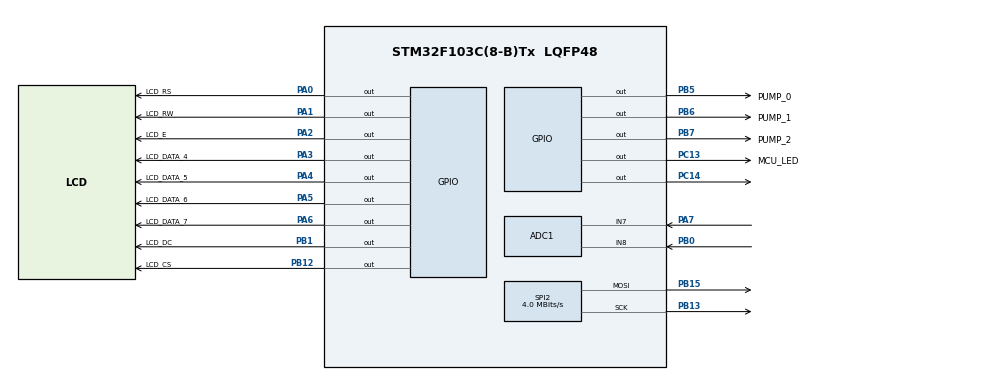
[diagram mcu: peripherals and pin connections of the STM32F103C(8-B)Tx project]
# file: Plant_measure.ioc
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ADC1.Channel-0\#ChannelRegularConversion=ADC_CHANNEL_7
ADC1.Channel-2\#ChannelRegularConversion=ADC_CHANNEL_8
ADC1.ContinuousConvMode=DISABLE
ADC1.DiscontinuousConvMode=DISABLE
ADC1.NbrOfConversion=2
ADC1.NbrOfConversionFlag=1
ADC1.Rank-0\#ChannelRegularConversion=1
ADC1.Rank-2\#ChannelRegularConversion=2
ADC1.SamplingTime-0\#ChannelRegularConversion=ADC_SAMPLETIME_55CYCLES_5
ADC1.SamplingTime-2\#ChannelRegularConversion=ADC_SAMPLETIME_55CYCLES_5
ADC1.master=1
Dma.ADC1.0.Direction=DMA_PERIPH_TO_MEMORY
Dma.ADC1.0.Instance=DMA1_Channel1
Dma.ADC1.0.MemDataAlignment=DMA_MDATAALIGN_HALFWORD
Dma.ADC1.0.MemInc=DMA_MINC_ENABLE
Dma.ADC1.0.Mode=DMA_NORMAL
Dma.ADC1.0.PeriphDataAlignment=DMA_PDATAALIGN_HALFWORD
Dma.ADC1.0.PeriphInc=DMA_PINC_DISABLE
Dma.ADC1.0.Priority=DMA_PRIORITY_LOW
Dma.Request0=ADC1
Mcu.Family=STM32F1
Mcu.Name=STM32F103C(8-B)Tx
Mcu.Package=LQFP48
NVIC.ADC1_2_IRQn=true\:5\:0\:true\:false\:true\:true\:true\:true
NVIC.DMA1_Channel1_IRQn=true\:5\:0\:true\:false\:true\:false\:true\:true
NVIC.PriorityGroup=NVIC_PRIORITYGROUP_4
NVIC.TIM4_IRQn=true\:15\:0\:false\:false\:true\:false\:true\:true
NVIC.TimeBase=TIM4_IRQn
NVIC.TimeBaseIP=TIM4
PA0-WKUP.GPIO_Label=LCD_RS
PA0-WKUP.GPIO_PuPd=GPIO_PULLDOWN
PA0-WKUP.Signal=GPIO_Output
PA1.GPIO_Label=LCD_RW
PA1.GPIO_PuPd=GPIO_PULLDOWN
PA1.Signal=GPIO_Output
PA2.GPIO_Label=LCD_E
PA2.GPIO_PuPd=GPIO_PULLDOWN
PA2.Signal=GPIO_Output
PA3.GPIO_Label=LCD_DATA_4
PA3.GPIO_PuPd=GPIO_PULLDOWN
PA3.Signal=GPIO_Output
PA4.GPIO_Label=LCD_DATA_5
PA4.GPIO_PuPd=GPIO_PULLDOWN
PA4.Signal=GPIO_Output
PA5.GPIO_Label=LCD_DATA_6
PA5.GPIO_PuPd=GPIO_PULLDOWN
PA5.Signal=GPIO_Output
PA6.GPIO_Label=LCD_DATA_7
PA6.GPIO_PuPd=GPIO_PULLDOWN
PA6.Signal=GPIO_Output
PA7.Signal=ADCx_IN7
PB0.Signal=ADCx_IN8
PB1.GPIO_Label=LCD_DC
PB1.Signal=GPIO_Output
PB12.GPIO_Label=LCD_CS
PB12.Signal=GPIO_Output
PB13.Mode=TX_Only_Simplex_Unidirect_Master
PB13.Signal=SPI2_SCK
PB15.Mode=TX_Only_Simplex_Unidirect_Master
PB15.Signal=SPI2_MOSI
PB5.GPIO_Label=PUMP_0
PB5.PinState=GPIO_PIN_SET
PB5.Signal=GPIO_Output
PB6.GPIO_Label=PUMP_1
PB6.PinState=GPIO_PIN_SET
PB6.Signal=GPIO_Output
PB7.GPIO_Label=PUMP_2
PB7.PinState=GPIO_PIN_SET
PB7.Signal=GPIO_Output
PC13-TAMPER-RTC.GPIO_Label=MCU_LED
PC13-TAMPER-RTC.Signal=GPIO_Output
PC14-OSC32_IN.Signal=GPIO_Output
PD0-OSC_IN.Mode=HSE-External-Oscillator
PD0-OSC_IN.Signal=RCC_OSC_IN
PD1-OSC_OUT.Mode=HSE-External-Oscillator
PD1-OSC_OUT.Signal=RCC_OSC_OUT
ProjectManager.HeapSize=0x200
ProjectManager.StackSize=0x400
ProjectManager.TargetToolchain=STM32CubeIDE
RCC.APB1Freq_Value=8000000
RCC.APB2Freq_Value=8000000
SH.ADCx_IN7.0=ADC1_IN7,IN7
SH.ADCx_IN8.0=ADC1_IN8,IN8
SPI2.CalculateBaudRate=4.0 MBits/s
SPI2.Direction=SPI_DIRECTION_2LINES
SPI2.Mode=SPI_MODE_MASTER
SPI2.VirtualType=VM_MASTER
VP_SYS_VS_ND.Mode=No_Debug
VP_SYS_VS_tim4.Mode=TIM4
board=custom

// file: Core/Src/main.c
/* USER CODE BEGIN Header */
/**
  ******************************************************************************
  * @file           : main.c
  * @brief          : Main program body
  ******************************************************************************
  * @attention
  *
  * Copyright (c) 2024 STMicroelectronics.
  * All rights reserved.
  *
  * This software is licensed under terms that can be found in the LICENSE file
  * in the root directory of this software component.
  * If no LICENSE file comes with this software, it is provided AS-IS.
  *
  ******************************************************************************
  */
/* USER CODE END Header */
#include "main.h"

ADC_HandleTypeDef hadc1;
DMA_HandleTypeDef hdma_adc1;

SPI_HandleTypeDef hspi2;

/* USER CODE BEGIN PV */
//TASKS HANDLERS
TaskHandle_t GROUND_MEASURE_INIT_hndl;
TaskHandle_t GROUND_MEASURE_CALCULATE_hndl;
TaskHandle_t LCD_PRINT_hndl;
TaskHandle_t WATERING_hndl;

//TIMERS
xTimerHandle PUMP_TIMER[NUMBER_OF_SENSORS];

//SEMAPHORES
SemaphoreHandle_t PUMP_SEMAPHORE[NUMBER_OF_SENSORS];

//USED VARIABLES
uint16_t volatile ADC_VALUE[NUMBER_OF_SENSORS];

/* USER CODE END PV */

void SystemClock_Config(void);
static void MX_GPIO_Init(void);
static void MX_DMA_Init(void);
static void MX_ADC1_Init(void);
static void MX_SPI2_Init(void);
/* USER CODE BEGIN PFP */
void GROUND_MEASURE_INIT_task(void* vParameters);
void GROUND_MEASURE_CALCULATE_task(void* vParameters);
void LCD_PRINT_task(void* vParameters);
void WATERING_task(void* vParameters);
/* USER CODE END PFP */

int main(void)
{
  /* USER CODE BEGIN 1 */
	BaseType_t Status;
  /* USER CODE END 1 */

  /* MCU Configuration--------------------------------------------------------*/

  /* Reset of all peripherals, Initializes the Flash interface and the Systick. */
  HAL_Init();

  /* Configure the system clock */
  SystemClock_Config();

  /* Initialize all configured peripherals */
  MX_GPIO_Init();
  MX_DMA_Init();
  MX_ADC1_Init();
  MX_SPI2_Init();
  /* USER CODE BEGIN 2 */

#ifdef USE_LCD_16x2
  lcd_init();
#endif

  //TASKS
  Status = xTaskCreate(GROUND_MEASURE_INIT_task, "GROUND_MEASURE_INIT", 100, 0, 1, &GROUND_MEASURE_INIT_hndl);
  configASSERT(Status == pdPASS);

  Status = xTaskCreate(GROUND_MEASURE_CALCULATE_task, "GROUND_MEASURE_CALCULATE", 100, 0, 1, &GROUND_MEASURE_CALCULATE_hndl);
  configASSERT(Status == pdPASS);

  Status = xTaskCreate(LCD_PRINT_task, "LCD_PRINT TASK", 100, 0, 1, &LCD_PRINT_hndl);
  configASSERT(Status == pdPASS);

  Status = xTaskCreate(WATERING_task, "WATERING TASK", 100, 0, 2, &WATERING_hndl);
  configASSERT(Status == pdPASS);

   //SENSOR SETUP
  for(uint16_t i = 0 ; i < NUMBER_OF_SENSORS; i++)
  {
	  //TIMERS
	  //PUMP_TIMER[i] = xTimerCreate("PUMP_TIM", pdMS_TO_TICKS(1000*60*60*3), pdFALSE, ( void * ) 0, TIMER_PUMP_EXPIRED);

	  //TIMER VALUE = 3 Hr (pdMS_TO_TICKS makes *1000/1000 which overflows 32 bit value !!
	  PUMP_TIMER[i] = xTimerCreate("PUMP_TIM", 1000*60*60*3, pdFALSE, ( void * ) 0, TIMER_PUMP_EXPIRED);

	  //SEMAPHORES
	  PUMP_SEMAPHORE[i] = xSemaphoreCreateBinary();
	  configASSERT(PUMP_SEMAPHORE[i] != NULL);

	  xSemaphoreGive(PUMP_SEMAPHORE[i]);
  }

  vTaskStartScheduler();
  /* USER CODE END 2 */

  /* Infinite loop */
  while (1)
  {

  }
}

void SystemClock_Config(void)
{
  RCC_OscInitTypeDef RCC_OscInitStruct = {0};
  RCC_ClkInitTypeDef RCC_ClkInitStruct = {0};
  RCC_PeriphCLKInitTypeDef PeriphClkInit = {0};

  /** Initializes the RCC Oscillators according to the specified parameters
  * in the RCC_OscInitTypeDef structure.
  */
  RCC_OscInitStruct.OscillatorType = RCC_OSCILLATORTYPE_HSI;
  RCC_OscInitStruct.HSIState = RCC_HSI_ON;
  RCC_OscInitStruct.HSICalibrationValue = RCC_HSICALIBRATION_DEFAULT;
  RCC_OscInitStruct.PLL.PLLState = RCC_PLL_NONE;
  if (HAL_RCC_OscConfig(&RCC_OscInitStruct) != HAL_OK)
  {
    Error_Handler();
  }

  /** Initializes the CPU, AHB and APB buses clocks
  */
  RCC_ClkInitStruct.ClockType = RCC_CLOCKTYPE_HCLK|RCC_CLOCKTYPE_SYSCLK
                              |RCC_CLOCKTYPE_PCLK1|RCC_CLOCKTYPE_PCLK2;
  RCC_ClkInitStruct.SYSCLKSource = RCC_SYSCLKSOURCE_HSI;
  RCC_ClkInitStruct.AHBCLKDivider = RCC_SYSCLK_DIV1;
  RCC_ClkInitStruct.APB1CLKDivider = RCC_HCLK_DIV1;
  RCC_ClkInitStruct.APB2CLKDivider = RCC_HCLK_DIV1;

  if (HAL_RCC_ClockConfig(&RCC_ClkInitStruct, FLASH_LATENCY_0) != HAL_OK)
  {
    Error_Handler();
  }
  PeriphClkInit.PeriphClockSelection = RCC_PERIPHCLK_ADC;
  PeriphClkInit.AdcClockSelection = RCC_ADCPCLK2_DIV2;
  if (HAL_RCCEx_PeriphCLKConfig(&PeriphClkInit) != HAL_OK)
  {
    Error_Handler();
  }
}

static void MX_ADC1_Init(void)
{

  ADC_ChannelConfTypeDef sConfig = {0};

  /** Common config
  */
  hadc1.Instance = ADC1;
  hadc1.Init.ScanConvMode = ADC_SCAN_ENABLE;
  hadc1.Init.ContinuousConvMode = DISABLE;
  hadc1.Init.DiscontinuousConvMode = DISABLE;
  hadc1.Init.ExternalTrigConv = ADC_SOFTWARE_START;
  hadc1.Init.DataAlign = ADC_DATAALIGN_RIGHT;
  hadc1.Init.NbrOfConversion = 2;
  if (HAL_ADC_Init(&hadc1) != HAL_OK)
  {
    Error_Handler();
  }

  /** Configure Regular Channel
  */
  sConfig.Channel = ADC_CHANNEL_7;
  sConfig.Rank = ADC_REGULAR_RANK_1;
  sConfig.SamplingTime = ADC_SAMPLETIME_55CYCLES_5;
  if (HAL_ADC_ConfigChannel(&hadc1, &sConfig) != HAL_OK)
  {
    Error_Handler();
  }

  /** Configure Regular Channel
  */
  sConfig.Channel = ADC_CHANNEL_8;
  sConfig.Rank = ADC_REGULAR_RANK_2;
  if (HAL_ADC_ConfigChannel(&hadc1, &sConfig) != HAL_OK)
  {
    Error_Handler();
  }

}

static void MX_SPI2_Init(void)
{

  /* SPI2 parameter configuration*/
  hspi2.Instance = SPI2;
  hspi2.Init.Mode = SPI_MODE_MASTER;
  hspi2.Init.Direction = SPI_DIRECTION_2LINES;
  hspi2.Init.DataSize = SPI_DATASIZE_8BIT;
  hspi2.Init.CLKPolarity = SPI_POLARITY_LOW;
  hspi2.Init.CLKPhase = SPI_PHASE_1EDGE;
  hspi2.Init.NSS = SPI_NSS_SOFT;
  hspi2.Init.BaudRatePrescaler = SPI_BAUDRATEPRESCALER_2;
  hspi2.Init.FirstBit = SPI_FIRSTBIT_MSB;
  hspi2.Init.TIMode = SPI_TIMODE_DISABLE;
  hspi2.Init.CRCCalculation = SPI_CRCCALCULATION_DISABLE;
  hspi2.Init.CRCPolynomial = 10;
  if (HAL_SPI_Init(&hspi2) != HAL_OK)
  {
    Error_Handler();
  }

}

static void MX_DMA_Init(void)
{

  /* DMA controller clock enable */
  __HAL_RCC_DMA1_CLK_ENABLE();

  /* DMA interrupt init */
  /* DMA1_Channel1_IRQn interrupt configuration */
  HAL_NVIC_SetPriority(DMA1_Channel1_IRQn, 5, 0);
  HAL_NVIC_EnableIRQ(DMA1_Channel1_IRQn);

}

static void MX_GPIO_Init(void)
{
  GPIO_InitTypeDef GPIO_InitStruct = {0};

  /* GPIO Ports Clock Enable */
  __HAL_RCC_GPIOC_CLK_ENABLE();
  __HAL_RCC_GPIOD_CLK_ENABLE();
  __HAL_RCC_GPIOA_CLK_ENABLE();
  __HAL_RCC_GPIOB_CLK_ENABLE();

  /*Configure GPIO pin Output Level */
  HAL_GPIO_WritePin(GPIOC, MCU_LED_Pin|GPIO_PIN_14, GPIO_PIN_RESET);

  /*Configure GPIO pin Output Level */
  HAL_GPIO_WritePin(GPIOA, LCD_RS_Pin|LCD_RW_Pin|LCD_E_Pin|LCD_DATA_4_Pin
                          |LCD_DATA_5_Pin|LCD_DATA_6_Pin|LCD_DATA_7_Pin, GPIO_PIN_RESET);

  /*Configure GPIO pin Output Level */
  HAL_GPIO_WritePin(GPIOB, LCD_DC_Pin|LCD_CS_Pin, GPIO_PIN_RESET);

  /*Configure GPIO pin Output Level */
  HAL_GPIO_WritePin(GPIOB, PUMP_0_Pin|PUMP_1_Pin|PUMP_2_Pin, GPIO_PIN_SET);

  /*Configure GPIO pins : MCU_LED_Pin PC14 */
  GPIO_InitStruct.Pin = MCU_LED_Pin|GPIO_PIN_14;
  GPIO_InitStruct.Mode = GPIO_MODE_OUTPUT_PP;
  GPIO_InitStruct.Pull = GPIO_NOPULL;
  GPIO_InitStruct.Speed = GPIO_SPEED_FREQ_LOW;
  HAL_GPIO_Init(GPIOC, &GPIO_InitStruct);

  /*Configure GPIO pins : LCD_RS_Pin LCD_RW_Pin LCD_E_Pin LCD_DATA_4_Pin
                           LCD_DATA_5_Pin LCD_DATA_6_Pin LCD_DATA_7_Pin */
  GPIO_InitStruct.Pin = LCD_RS_Pin|LCD_RW_Pin|LCD_E_Pin|LCD_DATA_4_Pin
                          |LCD_DATA_5_Pin|LCD_DATA_6_Pin|LCD_DATA_7_Pin;
  GPIO_InitStruct.Mode = GPIO_MODE_OUTPUT_PP;
  GPIO_InitStruct.Pull = GPIO_PULLDOWN;
  GPIO_InitStruct.Speed = GPIO_SPEED_FREQ_LOW;
  HAL_GPIO_Init(GPIOA, &GPIO_InitStruct);

  /*Configure GPIO pins : LCD_DC_Pin LCD_CS_Pin PUMP_0_Pin PUMP_1_Pin
                           PUMP_2_Pin */
  GPIO_InitStruct.Pin = LCD_DC_Pin|LCD_CS_Pin|PUMP_0_Pin|PUMP_1_Pin
                          |PUMP_2_Pin;
  GPIO_InitStruct.Mode = GPIO_MODE_OUTPUT_PP;
  GPIO_InitStruct.Pull = GPIO_NOPULL;
  GPIO_InitStruct.Speed = GPIO_SPEED_FREQ_LOW;
  HAL_GPIO_Init(GPIOB, &GPIO_InitStruct);

}

/* USER CODE BEGIN 4 */
void HAL_ADC_ConvCpltCallback(ADC_HandleTypeDef* hadc)
{

	//TOGGLING LED TO INFORM USER
	HAL_GPIO_TogglePin(GPIOC, GPIO_PIN_13);
	//PASSING THE ADDRESS
	xTaskNotifyFromISR(GROUND_MEASURE_CALCULATE_hndl, (uint32_t)ADC_VALUE, eSetValueWithOverwrite, NULL);

}
/* USER CODE END 4 */

void HAL_TIM_PeriodElapsedCallback(TIM_HandleTypeDef *htim)
{
  if (htim->Instance == TIM4) {
    HAL_IncTick();
  }
}

void Error_Handler(void)
{
  __disable_irq();
  while (1)
  {
  }
}
